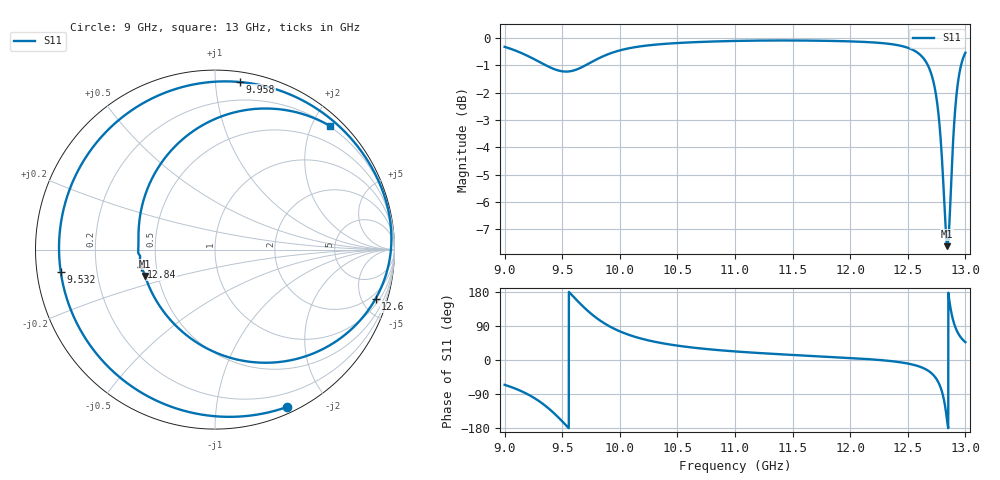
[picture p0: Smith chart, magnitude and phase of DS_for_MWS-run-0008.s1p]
! TOUCHSTONE file generated by CST DESIGN STUDIO
! Date and time: Tue Feb  4 15:45:02 2025
! Project name: C:\Work\MatlabApps\UnitCellOptimizationMatlab\CST\unitcell.cst
! Tree item: Tasks\Sweep1\SPara1\S-Parameters
! Header version: 2024
! Port assignment regex: !\s*Touchstone port\s*([0-9]+)\s*=\s*(CST MWS port|CST DES external port|CST DES block port)\s*(.+)\s* \(\"(.*)\"\)(\s*mode\s*([0-9]+))?.*
! Touchstone port assignment:
! Touchstone port 1 = CST DES external port 1 ("")
# GHz S MA R 50
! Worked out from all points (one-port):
!   4001 points, 9 GHz to 13 GHz, reference 50 ohm
!   lowest |S11| = -7.6 dB at 12.84 GHz (marker M1), VSWR 2.43, Z = 21.2 - j7.54 ohm
!   |S11| at or under -10 dB: nowhere
!   S11 on the Smith chart (normalised r, x): 9 GHz: 0.06, -1.55; 9.532 GHz: 0.07, -0.07; 9.958 GHz: 0.07, +1.16; 12.6 GHz: 1.44, -6.34; 12.84 GHz: 0.41, -0.10; 13 GHz: 0.19, +2.28
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9  0.9641 -65.5
9.144  0.9395 -82.1
9.295  0.9063 -107.7
9.398  0.8835 -132.0
9.5  0.8695 -161.8
9.532  0.8685 -171.9
9.627  0.8765 157.6
9.743  0.9013 124.1
9.84  0.9234 101.8
9.958  0.9441 81.4
10  0.9497 75.6
10.215  0.9682 54.2
10.5  0.9796 37.9
11  0.9883 22.6
11.5  0.9902 13.4
12  0.9864 5.4
12.5  0.9603 -9.3
12.599  0.9356 -17.1
12.708  0.8547 -35.5
12.745  0.7868 -48.4
12.778  0.6839 -67.2
12.81  0.5332 -99.6
12.841  0.4161 -159.3
12.844  0.4229 -166.9
12.871  0.5109 136.7
12.909  0.7299 89.6
12.955  0.8781 61.7
13  0.9404 47.1
